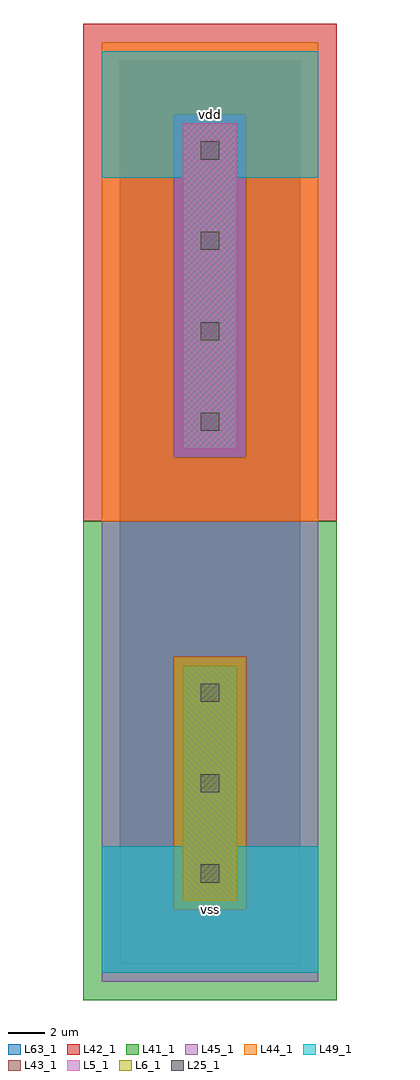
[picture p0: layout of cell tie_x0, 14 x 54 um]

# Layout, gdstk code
import gdstk
lib = gdstk.Library(unit=1e-6, precision=1e-09)
def R(c, l, rs):  # rectangles x0, y0, x1, y1
    for r in rs: c.add(gdstk.rectangle(r[:2], r[2:], *l))
def A(c, l, x, y, w, h, nx, ny, dx, dy):  # array of equal rectangles
    R(c, l, [(x+i*dx, y+j*dy, x+i*dx+w, y+j*dy+h) for i in range(nx) for j in range(ny)])
L5_1 = (5, 1)
L6_1 = (6, 1)
L25_1 = (25, 1)
L41_1 = (41, 1)
L42_1 = (42, 1)
L43_1 = (43, 1)
L44_1 = (44, 1)
L45_1 = (45, 1)
L49_1 = (49, 1)
L63_1 = (63, 1)

tie_x0 = lib.new_cell('tie_x0')
R(tie_x0, L5_1, [(3.5,28.5,6.5,46.5)])
R(tie_x0, L6_1, [(3.5,3.5,6.5,16.5)])
A(tie_x0, L25_1, 4.5, 4.5, 1, 1, 1, 3, 0, 5)
A(tie_x0, L25_1, 4.5, 29.5, 1, 1, 1, 4, 0, 5)
R(tie_x0, L41_1, [(-2,-2,12,24.5)])
R(tie_x0, L42_1, [(-2,24.5,12,52)])
R(tie_x0, L43_1, [(3.5,3.5,6.5,16.5), (3.5,28.5,6.5,46.5)])
R(tie_x0, L44_1, [(3,3,7,17), (-1,24.5,11,28), (-1,28,3,47), (7,28,11,47), (-1,47,11,51)])
R(tie_x0, L45_1, [(-1,-1,11,3), (-1,3,3,17), (7,3,11,17), (-1,17,11,24.5), (3,28,7,47)])
R(tie_x0, L49_1, [(-1,-0.5,11,6.5), (3.5,6.5,6.5,16.5), (3.5,28.5,6.5,43.5), (-1,43.5,11,50.5)])
R(tie_x0, L63_1, [(0,0,10,50)])
tie_x0.add(gdstk.Label('vss', (5,3), layer=49, texttype=1))
tie_x0.add(gdstk.Label('vss', (5,3), layer=49, texttype=1))
tie_x0.add(gdstk.Label('vdd', (5,47), layer=49, texttype=1))
tie_x0.add(gdstk.Label('vdd', (5,47), layer=49, texttype=1))

lib.write_gds('tie_x0.gds')
